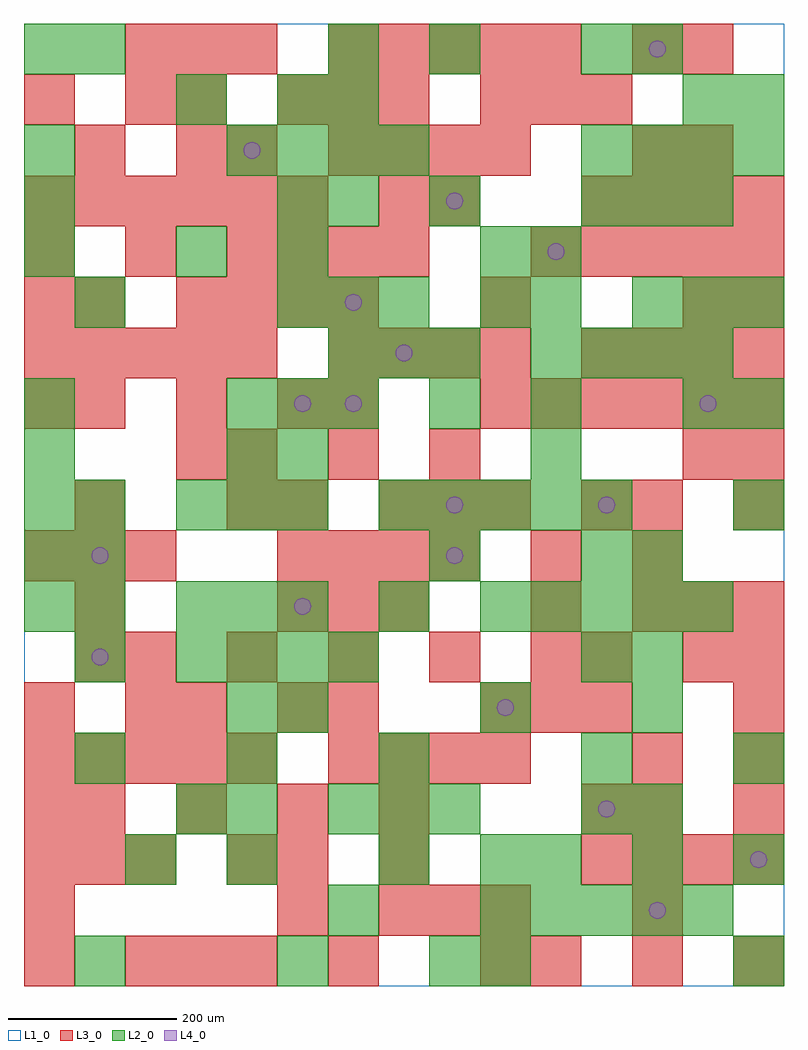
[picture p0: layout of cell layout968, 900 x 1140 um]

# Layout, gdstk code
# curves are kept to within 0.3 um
import gdstk
lib = gdstk.Library(unit=1e-6, precision=1e-09)
def R(c, l, rs):  # rectangles x0, y0, x1, y1
    for r in rs: c.add(gdstk.rectangle(r[:2], r[2:], *l))
def A(c, l, x, y, w, h, nx, ny, dx, dy):  # array of equal rectangles
    R(c, l, [(x+i*dx, y+j*dy, x+i*dx+w, y+j*dy+h) for i in range(nx) for j in range(ny)])
def P(c, l, *ps):  # polygons
    for p in ps: c.add(gdstk.Polygon(p, *l))
L1_0 = (1, 0)
L2_0 = (2, 0)
L3_0 = (3, 0)
L4_0 = (4, 0)

layout968 = lib.new_cell('layout968')
R(layout968, L1_0, [(0,0,900,1140)])
A(layout968, L2_0, 300, 0, 60, 60, 1, 3, 0, 300)
A(layout968, L2_0, 540, 60, 60, 60, 5, 2, 60, 360)
A(layout968, L2_0, 600, 120, 60, 60, 3, 1, 120, 0)
A(layout968, L2_0, 360, 180, 60, 60, 3, 2, 60, 540)
A(layout968, L2_0, 60, 240, 60, 60, 3, 1, 180, 0)
A(layout968, L2_0, 660, 240, 60, 60, 1, 3, 0, 120)
A(layout968, L2_0, 60, 360, 60, 60, 1, 4, 0, 60)
A(layout968, L2_0, 180, 360, 60, 60, 4, 1, 60, 0)
A(layout968, L2_0, 0, 420, 60, 60, 1, 5, 0, 60)
A(layout968, L2_0, 180, 420, 60, 60, 3, 2, 60, 120)
A(layout968, L2_0, 420, 540, 60, 60, 5, 1, 60, 0)
A(layout968, L2_0, 240, 660, 60, 60, 3, 1, 60, 0)
A(layout968, L2_0, 600, 720, 60, 60, 4, 1, 60, 0)
A(layout968, L2_0, 300, 780, 60, 60, 3, 1, 60, 0)
A(layout968, L2_0, 720, 780, 60, 60, 3, 1, 60, 0)
A(layout968, L2_0, 0, 840, 60, 60, 1, 3, 0, 60)
A(layout968, L2_0, 660, 900, 60, 60, 3, 1, 60, 0)
A(layout968, L2_0, 240, 960, 60, 60, 4, 1, 60, 0)
A(layout968, L2_0, 660, 960, 60, 60, 4, 1, 60, 0)
R(layout968, L2_0, [(60,0,120,60), (480,0,540,60), (540,0,600,60), (840,0,900,60), (360,60,420,120), (120,120,180,180), (240,120,300,180), (420,120,480,180), (540,120,600,180), (180,180,240,240), (240,180,300,240), (660,180,720,240), (720,180,780,240), (840,240,900,300), (240,300,300,360), (540,300,600,360), (720,300,780,360), (720,360,780,420), (420,420,480,480), (480,480,540,540), (720,480,780,540), (840,540,900,600), (240,600,300,660), (600,600,660,660), (480,660,540,720), (600,660,660,720), (780,660,840,720), (840,660,900,720), (60,780,120,840), (540,780,600,840), (600,780,660,840), (180,840,240,900), (300,840,360,900), (540,840,600,900), (600,840,660,900), (300,900,360,960), (360,900,420,960), (480,900,540,960), (180,1020,240,1080), (300,1020,360,1080), (360,1020,420,1080), (780,1020,840,1080), (840,1020,900,1080), (0,1080,60,1140), (60,1080,120,1140), (360,1080,420,1140), (480,1080,540,1140), (660,1080,720,1140), (720,1080,780,1140)])
A(layout968, L3_0, 120, 0, 60, 60, 3, 2, 60, 1080)
A(layout968, L3_0, 600, 0, 60, 60, 3, 1, 120, 0)
A(layout968, L3_0, 0, 60, 60, 60, 1, 3, 0, 120)
A(layout968, L3_0, 420, 60, 60, 60, 3, 2, 60, 480)
A(layout968, L3_0, 0, 120, 60, 60, 3, 2, 60, 360)
A(layout968, L3_0, 240, 120, 60, 60, 1, 3, 0, 420)
A(layout968, L3_0, 660, 120, 60, 60, 4, 2, 60, 600)
A(layout968, L3_0, 60, 180, 60, 60, 4, 1, 120, 0)
A(layout968, L3_0, 660, 180, 60, 60, 1, 3, 0, 180)
A(layout968, L3_0, 840, 180, 60, 60, 1, 4, 0, 60)
A(layout968, L3_0, 0, 240, 60, 60, 5, 2, 60, 480)
A(layout968, L3_0, 360, 240, 60, 60, 4, 2, 60, 480)
A(layout968, L3_0, 540, 300, 60, 60, 3, 2, 60, 720)
A(layout968, L3_0, 120, 360, 60, 60, 5, 1, 120, 0)
A(layout968, L3_0, 300, 420, 60, 60, 3, 2, 60, 420)
A(layout968, L3_0, 720, 420, 60, 60, 3, 1, 60, 0)
A(layout968, L3_0, 300, 480, 60, 60, 4, 1, 60, 0)
A(layout968, L3_0, 240, 600, 60, 60, 3, 1, 120, 0)
A(layout968, L3_0, 780, 600, 60, 60, 1, 3, 0, 180)
A(layout968, L3_0, 60, 660, 60, 60, 3, 1, 120, 0)
A(layout968, L3_0, 540, 660, 60, 60, 6, 1, 60, 0)
A(layout968, L3_0, 180, 780, 60, 60, 4, 1, 60, 0)
A(layout968, L3_0, 0, 840, 60, 60, 3, 1, 120, 0)
A(layout968, L3_0, 600, 840, 60, 60, 5, 1, 60, 0)
A(layout968, L3_0, 0, 900, 60, 60, 6, 1, 60, 0)
A(layout968, L3_0, 660, 900, 60, 60, 4, 1, 60, 0)
A(layout968, L3_0, 360, 960, 60, 60, 4, 1, 60, 0)
A(layout968, L3_0, 300, 1020, 60, 60, 3, 1, 60, 0)
A(layout968, L3_0, 360, 1080, 60, 60, 5, 1, 60, 0)
R(layout968, L3_0, [(0,0,60,60), (360,0,420,60), (540,0,600,60), (300,60,360,120), (720,60,780,120), (300,120,360,180), (420,120,480,180), (720,180,780,240), (720,240,780,300), (120,300,180,360), (180,300,240,360), (300,300,360,360), (360,300,420,360), (60,360,120,420), (780,360,840,420), (60,420,120,480), (600,420,660,480), (600,480,660,540), (720,480,780,540), (60,540,120,600), (300,540,360,600), (720,540,780,600), (840,540,900,600), (180,600,240,660), (840,600,900,660), (0,660,60,720), (360,660,420,720), (0,780,60,840), (60,780,120,840), (540,780,600,840), (840,780,900,840), (420,900,480,960), (480,900,540,960), (60,960,120,1020), (180,960,240,1020), (720,960,780,1020), (0,1020,60,1080), (120,1020,180,1080), (180,1020,240,1080), (720,1080,780,1140), (780,1080,840,1140)])
P(layout968, L4_0, [(100,390),(99.239,393.827),(97.071,397.071),(93.827,399.239),(90,400),(86.173,399.239),(82.929,397.071),(80.761,393.827),(80,390),(80.761,386.173),(82.929,382.929),(86.173,380.761),(90,380),(93.827,380.761),(97.071,382.929),(99.239,386.173)],
  [(100,510),(99.239,513.827),(97.071,517.071),(93.827,519.239),(90,520),(86.173,519.239),(82.929,517.071),(80.761,513.827),(80,510),(80.761,506.173),(82.929,502.929),(86.173,500.761),(90,500),(93.827,500.761),(97.071,502.929),(99.239,506.173)],
  [(280,990),(279.239,993.827),(277.071,997.071),(273.827,999.239),(270,1000),(266.173,999.239),(262.929,997.071),(260.761,993.827),(260,990),(260.761,986.173),(262.929,982.929),(266.173,980.761),(270,980),(273.827,980.761),(277.071,982.929),(279.239,986.173)],
  [(340,450),(339.239,453.827),(337.071,457.071),(333.827,459.239),(330,460),(326.173,459.239),(322.929,457.071),(320.761,453.827),(320,450),(320.761,446.173),(322.929,442.929),(326.173,440.761),(330,440),(333.827,440.761),(337.071,442.929),(339.239,446.173)],
  [(340,690),(339.239,693.827),(337.071,697.071),(333.827,699.239),(330,700),(326.173,699.239),(322.929,697.071),(320.761,693.827),(320,690),(320.761,686.173),(322.929,682.929),(326.173,680.761),(330,680),(333.827,680.761),(337.071,682.929),(339.239,686.173)],
  [(400,690),(399.239,693.827),(397.071,697.071),(393.827,699.239),(390,700),(386.173,699.239),(382.929,697.071),(380.761,693.827),(380,690),(380.761,686.173),(382.929,682.929),(386.173,680.761),(390,680),(393.827,680.761),(397.071,682.929),(399.239,686.173)],
  [(400,810),(399.239,813.827),(397.071,817.071),(393.827,819.239),(390,820),(386.173,819.239),(382.929,817.071),(380.761,813.827),(380,810),(380.761,806.173),(382.929,802.929),(386.173,800.761),(390,800),(393.827,800.761),(397.071,802.929),(399.239,806.173)],
  [(460,750),(459.239,753.827),(457.071,757.071),(453.827,759.239),(450,760),(446.173,759.239),(442.929,757.071),(440.761,753.827),(440,750),(440.761,746.173),(442.929,742.929),(446.173,740.761),(450,740),(453.827,740.761),(457.071,742.929),(459.239,746.173)],
  [(520,510),(519.239,513.827),(517.071,517.071),(513.827,519.239),(510,520),(506.173,519.239),(502.929,517.071),(500.761,513.827),(500,510),(500.761,506.173),(502.929,502.929),(506.173,500.761),(510,500),(513.827,500.761),(517.071,502.929),(519.239,506.173)],
  [(520,570),(519.239,573.827),(517.071,577.071),(513.827,579.239),(510,580),(506.173,579.239),(502.929,577.071),(500.761,573.827),(500,570),(500.761,566.173),(502.929,562.929),(506.173,560.761),(510,560),(513.827,560.761),(517.071,562.929),(519.239,566.173)],
  [(520,930),(519.239,933.827),(517.071,937.071),(513.827,939.239),(510,940),(506.173,939.239),(502.929,937.071),(500.761,933.827),(500,930),(500.761,926.173),(502.929,922.929),(506.173,920.761),(510,920),(513.827,920.761),(517.071,922.929),(519.239,926.173)],
  [(580,330),(579.239,333.827),(577.071,337.071),(573.827,339.239),(570,340),(566.173,339.239),(562.929,337.071),(560.761,333.827),(560,330),(560.761,326.173),(562.929,322.929),(566.173,320.761),(570,320),(573.827,320.761),(577.071,322.929),(579.239,326.173)],
  [(640,870),(639.239,873.827),(637.071,877.071),(633.827,879.239),(630,880),(626.173,879.239),(622.929,877.071),(620.761,873.827),(620,870),(620.761,866.173),(622.929,862.929),(626.173,860.761),(630,860),(633.827,860.761),(637.071,862.929),(639.239,866.173)],
  [(700,210),(699.239,213.827),(697.071,217.071),(693.827,219.239),(690,220),(686.173,219.239),(682.929,217.071),(680.761,213.827),(680,210),(680.761,206.173),(682.929,202.929),(686.173,200.761),(690,200),(693.827,200.761),(697.071,202.929),(699.239,206.173)],
  [(700,570),(699.239,573.827),(697.071,577.071),(693.827,579.239),(690,580),(686.173,579.239),(682.929,577.071),(680.761,573.827),(680,570),(680.761,566.173),(682.929,562.929),(686.173,560.761),(690,560),(693.827,560.761),(697.071,562.929),(699.239,566.173)],
  [(760,90),(759.239,93.827),(757.071,97.071),(753.827,99.239),(750,100),(746.173,99.239),(742.929,97.071),(740.761,93.827),(740,90),(740.761,86.173),(742.929,82.929),(746.173,80.761),(750,80),(753.827,80.761),(757.071,82.929),(759.239,86.173)],
  [(760,1110),(759.239,1113.827),(757.071,1117.071),(753.827,1119.239),(750,1120),(746.173,1119.239),(742.929,1117.071),(740.761,1113.827),(740,1110),(740.761,1106.173),(742.929,1102.929),(746.173,1100.761),(750,1100),(753.827,1100.761),(757.071,1102.929),(759.239,1106.173)],
  [(820,690),(819.239,693.827),(817.071,697.071),(813.827,699.239),(810,700),(806.173,699.239),(802.929,697.071),(800.761,693.827),(800,690),(800.761,686.173),(802.929,682.929),(806.173,680.761),(810,680),(813.827,680.761),(817.071,682.929),(819.239,686.173)],
  [(880,150),(879.239,153.827),(877.071,157.071),(873.827,159.239),(870,160),(866.173,159.239),(862.929,157.071),(860.761,153.827),(860,150),(860.761,146.173),(862.929,142.929),(866.173,140.761),(870,140),(873.827,140.761),(877.071,142.929),(879.239,146.173)])

lib.write_gds('layout968.gds')
